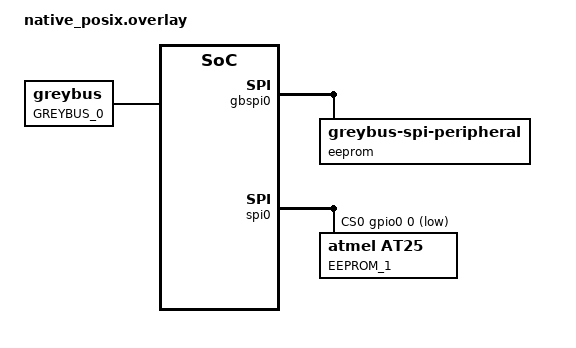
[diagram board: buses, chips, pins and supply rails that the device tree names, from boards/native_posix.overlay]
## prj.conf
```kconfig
CONFIG_ZTEST=y

#CONFIG_REQUIRES_FULL_LIBC=y
#CONFIG_NEWLIB_LIBC=y
CONFIG_GPIO=y
#CONFIG_I2C=y
CONFIG_SPI=y
CONFIG_GREYBUS=y
#CONFIG_GB_LOG_LEVEL=4
#CONFIG_GREYBUS_AUDIO=y
#CONFIG_GREYBUS_CAMERA=y
CONFIG_GREYBUS_CONTROL=y
#CONFIG_GREYBUS_GPIO=y
#CONFIG_GREYBUS_DEBUG=y
#CONFIG_GREYBUS_HID=y
#CONFIG_GREYBUS_I2C=y
#CONFIG_GREYBUS_LIGHTS=y
#CONFIG_GREYBUS_LOOPBACK=y
#CONFIG_GREYBUS_POWER_SUPPLY=y
#CONFIG_GREYBUS_PWM=y
#CONFIG_GREYBUS_SDIO=y
CONFIG_GREYBUS_SPI=y
#CONFIG_GREYBUS_UART=y
#CONFIG_GREYBUS_USB=y
#CONFIG_GREYBUS_VIBRATOR=y
CONFIG_CONSOLE_SUBSYS=y
#CONFIG_CONSOLE_GETCHAR=y
CONFIG_NO_OPTIMIZATIONS=y
CONFIG_MINIMAL_LIBC_MALLOC_ARENA_SIZE=16384
#CONFIG_MINIMAL_LIBC_MALLOC_ARENA_SIZE=32768
# Generic networking options
CONFIG_NETWORKING=y
CONFIG_NET_UDP=y
CONFIG_NET_TCP=y
CONFIG_NET_IPV6=y
CONFIG_NET_IPV4=y
CONFIG_NET_SOCKETS=y
CONFIG_NET_SOCKETS_POSIX_NAMES=y
CONFIG_POSIX_MAX_FDS=32

# Kernel options
CONFIG_MAIN_STACK_SIZE=1024
#CONFIG_ENTROPY_GENERATOR=y
CONFIG_TEST_RANDOM_GENERATOR=y
CONFIG_INIT_STACKS=y

# Logging
CONFIG_NET_LOG=y
CONFIG_LOG=y
CONFIG_NET_STATISTICS=y
CONFIG_PRINTK=y

# Network buffers
CONFIG_NET_PKT_RX_COUNT=4
CONFIG_NET_PKT_TX_COUNT=4
CONFIG_NET_BUF_RX_COUNT=16
CONFIG_NET_BUF_TX_COUNT=16
CONFIG_NET_CONTEXT_NET_PKT_POOL=y

# IP address options
CONFIG_NET_IF_UNICAST_IPV6_ADDR_COUNT=3
CONFIG_NET_IF_MCAST_IPV6_ADDR_COUNT=4
CONFIG_NET_MAX_CONTEXTS=10

# Network shell
CONFIG_NET_SHELL=y
CONFIG_SHELL=y

# Network application options and configuration
CONFIG_NET_CONFIG_SETTINGS=y
CONFIG_NET_CONFIG_MY_IPV6_ADDR="2001:db8::1"
CONFIG_NET_CONFIG_PEER_IPV6_ADDR="2001:db8::2"
CONFIG_NET_CONFIG_MY_IPV4_ADDR="192.0.2.1"
CONFIG_NET_CONFIG_PEER_IPV4_ADDR="192.0.2.2"

# How many client can connect to echo-server simultaneously
#CONFIG_NET_SAMPLE_NUM_HANDLERS=1

# Temporary until automatic thread stack allocation is available
CONFIG_PTHREAD_DYNAMIC_STACK=y
CONFIG_PTHREAD_DYNAMIC_STACK_RESERVED_COUNT=8
```

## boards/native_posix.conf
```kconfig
CONFIG_SPI_SIM=y
CONFIG_SPI_0=y
CONFIG_GPIO_SIM=y
```

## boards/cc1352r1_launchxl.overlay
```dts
/*
 * Copyright (c) 2020 Friedt Professional Engineering Services, Inc
 *
 * SPDX-License-Identifier: BSD-3-Clause
 */
 #include <dt-bindings/greybus/greybus.h>

/ {
	resources {
		compatible = "test,greybus-i2c";
		test-i2c = <&i2c0>; 
	};

	greybus0: greybus0 {
		compatible = "zephyr,greybus";
		label = "GREYBUS_0";
		greybus;
	};
};

&i2c0 {
	status = "okay";
};

&greybus0 {
	label = "GREYBUS_0";
	status = "okay";
	/* defaults in effect, so this isn't necessary */
	version-major = <GREYBUS_VERSION_MAJOR>;
	version-minor = <GREYBUS_VERSION_MINOR>;

	gbstring0: gbstring0 {
		label = "GBSTRING_0";
		status = "okay";
		compatible = "zephyr,greybus-string";
		id = <0>;
		greybus-string = "Zephyr Project RTOS";
	};

	gbstring1: gbstring1 {
		label = "GBSTRING_0";
		status = "okay";
		compatible = "zephyr,greybus-string";
		id = <1>;
		greybus-string = "Greybus Service Sample Application";
	};

	gbinterface0 {
		label = "GBINTERFACE_0";
		status = "okay";
		compatible = "zephyr,greybus-interface";
		vendor-string-id = <&gbstring0>;
		product-string-id = <&gbstring1>;
		greybus-interface;
	};

	gbbundle0 {
		label = "GBBUNDLE_0";
		status = "okay";
		compatible = "zephyr,greybus-bundle";
		greybus-bundle;
		/* Control Bundle 0
		 * Note: control bundle 0 and control cport 0 are optional
		 * Since instance numbers automatically begin at 0, the id
		 * is a mandatory field for bundles and cports.
		 */
		id = <CONTROL_BUNDLE_ID>;
		bundle-class = <BUNDLE_CLASS_CONTROL>;

		gbcontrol0 {
			label = "GBCONTROL_0";
			status = "okay";
			compatible = "zephyr,greybus-control";
			greybus-controller;
			/* Control CPort 0
			 * Note: control bundle 0 and control cport 0 are optional
			 * Since instance numbers automatically begin at 0, the id
			 * is a mandatory field for bundles and cports.
			 */
			id = <CONTROL_CPORT_ID>;
			cport-protocol = <CPORT_PROTOCOL_CONTROL>; 
		};
	};
	
	gbbundle1 {
		label = "GBBUNDLE_1";
		status = "okay";
		compatible = "zephyr,greybus-bundle";
		greybus-bundle;
		id = <1>;
		bundle-class = <BUNDLE_CLASS_BRIDGED_PHY>;		
				
		gbi2c0 {
			label = "GBI2C_0";
			status = "okay";
			compatible = "zephyr,greybus-i2c-controller";
			greybus-i2c-controller = <&i2c0>;
			id = <1>;
			cport-protocol = <CPORT_PROTOCOL_I2C>;
		};
	};
};
```

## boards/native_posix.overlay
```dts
/*
 * Copyright (c) 2020 Friedt Professional Engineering Services, Inc
 *
 * SPDX-License-Identifier: BSD-3-Clause
 */

#include <dt-bindings/greybus/greybus.h>
#include <dt-bindings/greybus/spi.h>

/ {
	resources {
		compatible = "test,greybus-i2c";
		test-i2c = <&i2c0>; 
	};

	greybus0: greybus0 {
		compatible = "zephyr,greybus";
		label = "GREYBUS_0";
		greybus;
	};
};

&gpio0 {
	status = "okay";
	ngpios = <2>;
};

&spi0 {
	status = "okay";

	cs-gpios = <&gpio0 0 GPIO_ACTIVE_LOW>;

	test_spi_at25: at25@0 {
                status = "okay";
        compatible = "atmel,at25";
        label = "EEPROM_1";
        reg = <0x0>;
        spi-max-frequency = <0>;
        size = <65536>;
        pagesize = <256>;
        address-width = <24>;
        timeout = <5>;
        /* wp-gpios = <&test_gpio 0 0>; */
        /* read-only; */
	};
};

&greybus0 {
	status = "okay";
	/* defaults in effect, so this isn't necessary */
	version-major = <GREYBUS_VERSION_MAJOR>;
	version-minor = <GREYBUS_VERSION_MINOR>;

	gbstring0: gbstring0 {
		status = "okay";
		compatible = "zephyr,greybus-string";
		id = <0>;
		greybus-string = "Zephyr Project RTOS";
	};

	gbstring1: gbstring1 {
		status = "okay";
		compatible = "zephyr,greybus-string";
		id = <1>;
		greybus-string = "Greybus Service Sample Application";
	};

	gbinterface0 {
		status = "okay";
		compatible = "zephyr,greybus-interface";
		vendor-string-id = <&gbstring0>;
		product-string-id = <&gbstring1>;
		greybus-interface;
	};

	gbbundle0 {
		status = "okay";
		compatible = "zephyr,greybus-bundle";
		greybus-bundle;
		/* Control Bundle 0
		 * Note: control bundle 0 and control cport 0 are optional
		 * Since instance numbers automatically begin at 0, the id
		 * is a mandatory field for bundles and cports.
		 */
		id = <CONTROL_BUNDLE_ID>;
		bundle-class = <BUNDLE_CLASS_CONTROL>;

		gbcontrol0 {
			status = "okay";
			compatible = "zephyr,greybus-control";
			greybus-controller;
			/* Control CPort 0
			 * Note: control bundle 0 and control cport 0 are optional
			 * Since instance numbers automatically begin at 0, the id
			 * is a mandatory field for bundles and cports.
			 */
			id = <CONTROL_CPORT_ID>;
			cport-protocol = <CPORT_PROTOCOL_CONTROL>; 
		};
	};
	
	gbbundle1 {
		status = "okay";
		compatible = "zephyr,greybus-bundle";
		greybus-bundle;
		id = <1>;
		bundle-class = <BUNDLE_CLASS_BRIDGED_PHY>;		
				
		gbspi0 {
			status = "okay";
			compatible = "zephyr,greybus-spi-controller";
			greybus-spi-controller = <&spi0>;
			id = <1>;
			cport-protocol = <CPORT_PROTOCOL_SPI>;

			/*
			 * Entries for struct gb_spi_master_config_response
			 */
			bpw-mask = <0xff>;
			min-speed-hz = <100000>;
			max-speed-hz = <400000>;			
			/* FIXME: there must be a better way to do this */
			#define _mode (GB_SPI_MODE_CPHA|GB_SPI_MODE_3WIRE|GB_SPI_MODE_READY)
			mode = <_mode>;
			flags = <GB_SPI_FLAG_HALF_DUPLEX>;

			eeprom {
				status = "okay";
				compatible = "zephyr,greybus-spi-peripheral";
				/* cs is used as an array index for compile-time definition [cs] = {...}, */				
				cs = <0>;
				
				/*
				 * Entries for struct gb_spi_device_config_response
				 */
				mode = <GB_SPI_MODE_CPHA>;
				bpw = <24>;
				max-speed-hz = <400000>;
				device-type = <GB_SPI_SPI_MODALIAS>;
				device-name = "spi:at25";
				
				/*
				 * TODO: nest the equivalent of a struct spi_cs_control
				 * here with a phandle to e.g. gpio0.
				 * Needs some machinery in subsys/greybus/platform/spi.c
				 * and (probably also) subsys/greybus/spi.c 
				 */
			};
		};
	};
};
```

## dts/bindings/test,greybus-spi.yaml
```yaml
#
# Copyright (c) 2020 Friedt Professional Engineering Services, Inc
#
# SPDX-License-Identifier: BSD-3-Clause
#

description: |
    This binding provides resources required to build and run the
    spi-related tests under tests/subsys/greybus test in Zephyr.

compatible: "test,greybus-spi"

properties:
    test-spi:
        type: phandle
        required: true
        description: |
          Identity of an SPI device that will be used with Greybus.
```

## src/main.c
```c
/*
 * Copyright (c) 2020 Friedt Professional Engineering Services, Inc
 *
 * SPDX-License-Identifier: BSD-3-Clause
 */

#include <ztest.h>

extern void test_greybus_spi_protocol_version(void);
extern void test_greybus_spi_cport_shutdown(void);
extern void test_greybus_spi_master_config(void);
extern void test_greybus_spi_device_config(void);
extern void test_greybus_spi_transfer(void);

static void board_setup(void)
{
	if (IS_ENABLED(CONFIG_SPI_SIM)) {
		extern void spi_sim_setup(void);
		spi_sim_setup();
	}
	if (IS_ENABLED(CONFIG_GPIO_SIM)) {
		extern void gpio_sim_setup(void);
		gpio_sim_setup();
	}
}

extern void test_greybus_setup(void);
extern void test_greybus_teardown(void);

void test_main(void) {

	board_setup();
	test_greybus_setup();
    ztest_test_suite(greybus_spi,
        ztest_unit_test(test_greybus_spi_protocol_version),
        ztest_unit_test(test_greybus_spi_cport_shutdown),
        ztest_unit_test(test_greybus_spi_master_config),
        ztest_unit_test(test_greybus_spi_device_config),
        ztest_unit_test(test_greybus_spi_transfer)
        );
    ztest_run_test_suite(greybus_spi);
    test_greybus_teardown();
}
```

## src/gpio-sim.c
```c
/*
 * Copyright (c) 2020 Friedt Professional Engineering Services, Inc
 *
 * SPDX-License-Identifier: BSD-3-Clause
 */

#ifdef CONFIG_GPIO_SIM

#include <drivers/gpio.h>
#include <drivers/gpio/gpio_sim.h>
#include <stdio.h>
#include <sys/util.h>
#include <zephyr.h>

#include "test-greybus-spi.h"

#ifndef GPIO_DEV_NAME
#define GPIO_DEV_NAME "GPIO_0"
#endif

static void gpio_sim_callback_handler(struct device *port,
				      struct gpio_callback *cb,
				      gpio_port_pins_t pins)
{
	printf("%s(): GPIO changed\n", __func__);
}

static struct gpio_callback gpio_sim_callback = {
	.handler = gpio_sim_callback_handler,
	.pin_mask = BIT(0),
};

void gpio_sim_setup(void)
{
	struct device *dev = device_get_binding(GPIO_DEV_NAME);
	__ASSERT(dev != NULL, "Device not found");
	int rc = gpio_add_callback(dev, &gpio_sim_callback);
	__ASSERT(rc == 0, "gpio_add_callback() failed: %d", rc);
	/* in the simulated case, we're using active-high logic */
	rc = gpio_pin_configure(dev, 0, GPIO_OUTPUT_LOW);
	__ASSERT(rc == 0, "gpio_pin_configure() failed: %d", rc);
}

#endif /* CONFIG_GPIO_SIM */
```

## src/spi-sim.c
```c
/*
 * Copyright (c) 2020 Friedt Professional Engineering Services, Inc
 *
 * SPDX-License-Identifier: BSD-3-Clause
 */

#ifdef CONFIG_SPI_SIM

#include <drivers/spi.h>
#include <drivers/gpio.h>
#include <drivers/spi/spi_sim.h>
#include <drivers/eeprom.h>
#include <stdio.h>
#include <sys/util.h>
#include <zephyr.h>

#include <logging/log.h>
LOG_MODULE_REGISTER(test_spi_sim, CONFIG_SPI_LOG_LEVEL);

#ifndef SPI_DEV_NAME
#define SPI_DEV_NAME "SPI_0"
#endif

/* AT25 instruction set */
typedef enum {
	AT25_WRSR = 1, /* Write STATUS register        */
	AT25_WRITE = 2, /* Write data to memory array   */
	AT25_READ = 3, /* Read data from memory array  */
	AT25_WRDI = 4, /* Reset the write enable latch */
	AT25_RDSR = 5, /* Read STATUS register         */
	AT25_WREN = 6, /* Set the write enable latch   */
	AT25_EONE = 0x52, /* Erase One Sector in Memory Array */
	AT25_EALL = 0x62, /* Erase All Sectors in Memory Array */
	AT25_RDR = 0x15, /* Read Manufacturer and Product ID */
} at25_op_t;

/* AT25 status register bits */
typedef enum {
	AT25_STATUS_WIP = BIT(0), /* Write-In-Process   (RO) */
	AT25_STATUS_WEL = BIT(1), /* Write Enable Latch (RO) */
	AT25_STATUS_BP0 = BIT(2), /* Block Protection 0 (RW) */
	AT25_STATUS_BP1 = BIT(3), /* Block Protection 1 (RW) */
} at25_status_t;

static int spi_sim_callback(struct device *dev, const struct spi_config *config,
			    const struct spi_buf_set *tx_bufs,
			    const struct spi_buf_set *rx_bufs)
{
	static uint8_t status;
	static uint8_t data[256];
	static bool write;
	static uint32_t addr;
	const struct spi_buf *tx = &tx_bufs->buffers[0];
	const struct spi_buf *rx;
	uint8_t *x;
	size_t len;

	/* if there is a chip-select, then use it! */
	if (config->cs != NULL) {
		k_usleep(config->cs->delay);
		if ((config->operation & SPI_CS_ACTIVE_HIGH) != 0) {
			gpio_pin_set(config->cs->gpio_dev, config->cs->gpio_pin, 1);
		} else {
			gpio_pin_set(config->cs->gpio_dev, config->cs->gpio_pin, 0);
		}
	}

	at25_op_t op = ((uint8_t *)tx->buf)[0] & (~0x08);

	switch(op) {
	case AT25_WRSR:
		break;
	case AT25_WRITE:

		write = true;

		__ASSERT_NO_MSG(tx->len >= 4);

		addr = 0;
		/* A[23..17] are don't care bits for the 512k version */
		/* addr |= (uint32_t)(((uint8_t *)tx->buf)[0]) << 16; */
		/* A[16] should be a zero bit for the 512k version */
		addr |= ((uint32_t)(((uint8_t *)tx->buf)[1]) << 8) & 7;
		addr |= (uint32_t)(((uint8_t *)tx->buf)[2]) << 0;

		if (tx->len == 4) {
			__ASSERT_NO_MSG(tx_bufs->count > 1);
			tx = &tx_bufs->buffers[1];
			x = tx->buf;
			len = tx->len;
		} else {
			x = (uint8_t *)tx->buf + 4;
			len = tx->len - 4;
		}

		memcpy(&data[addr], x, len);

		write = false;

		break;

	case AT25_READ:

		write = false;

		addr = 0;
		/* A[23..17] are don't care bits for the 512k version */
		/* addr |= (uint32_t)(((uint8_t *)tx->buf)[0]) << 16; */
		/* A[16] should be a zero bit for the 512k version */
		addr |= ((uint32_t)(((uint8_t *)tx->buf)[1]) << 8) & 7;
		addr |= (uint32_t)(((uint8_t *)tx->buf)[2]) << 0;

		if (tx->len == 4) {
			__ASSERT_NO_MSG(rx_bufs->count > 1);
			rx = &rx_bufs->buffers[1];
			x = rx->buf;
			len = rx->len;
		} else {
			rx = &rx_bufs->buffers[0];
			x = (uint8_t *)rx->buf + 4;
			len = rx->len - 4;
		}

		memcpy(x, &data[addr], len);

		break;

	case AT25_WRDI:
		break;

	case AT25_RDSR:

		rx = &rx_bufs->buffers[0];
		memcpy(rx->buf, tx->buf, sizeof(rx->len));
		((uint8_t *)rx->buf)[1] = status;

		break;

	case AT25_WREN:
		status |= AT25_STATUS_WEL;
		break;
	case AT25_EONE:
		break;
	case AT25_EALL:
		break;
	case AT25_RDR:
		break;
	default:

		__ASSERT(1 == 0, "invalid opcode %u", op);

		break;
	}

	/* if there is a chip-select, then use it! */
	if (config->cs != NULL) {
		if ((config->operation & SPI_CS_ACTIVE_HIGH) != 0) {
			gpio_pin_set(config->cs->gpio_dev, config->cs->gpio_pin, 0);
		} else {
			gpio_pin_set(config->cs->gpio_dev, config->cs->gpio_pin, 1);
		}
		k_usleep(config->cs->delay);
	}

	return 0;
}

void spi_sim_setup(void)
{
	int r;
	struct device *dev;

	dev = device_get_binding(SPI_DEV_NAME);
	__ASSERT(dev != NULL, "failed to get binding for " SPI_DEV_NAME);

	r = spi_sim_callback_register(dev, 0, spi_sim_callback);
	__ASSERT(r == 0, "failed to register spi_sim callback: %d", r);
}

#endif /* CONFIG_SPI_SIM */
```

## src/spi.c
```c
/*
 * Copyright (c) 2020 Friedt Professional Engineering Services, Inc
 *
 * SPDX-License-Identifier: BSD-3-Clause
 */

#include <device.h>
#include <errno.h>
#include <greybus/greybus.h>
#include <string.h>
#include <sys/util.h>
#include <ztest.h>
#include <zephyr.h>

#if defined(CONFIG_BOARD_NATIVE_POSIX_64BIT) ||                                \
	defined(CONFIG_BOARD_NATIVE_POSIX_32BIT) ||                            \
	defined(CONFIG_BOARD_NRF52_BSIM)

#include <arpa/inet.h>
#include <netinet/in.h>
#include <poll.h>
#include <sys/byteorder.h>
#include <sys/types.h>
#include <sys/socket.h>
#include <unistd.h>

#else

#include <net/socket.h>
#include <posix/unistd.h>

#endif

#include "../../../../subsys/greybus/spi-gb.h"

#include "test-greybus-spi.h"

#define TIMEOUT_MS (-1)
#define PORT 4243

static struct device *spi_dev;

static int fd = -1;

static char *to_string(uint8_t *data, size_t len)
{
    static char buf[256];
    char *p = buf;

    memset(buf, '\0', sizeof(buf));
    for(size_t i = 0; i < len && p < buf + sizeof(buf) - 4; ++i) {
        sprintf(p, "%02x", data[i]);
        p += 2;
        if (i < len - 1) {
            *p++ = ',';
            *p++ = ' ';
        }
    }

    return buf;
}

void test_greybus_setup(void)
{
	struct sockaddr_in6 addr = {
		.sin6_family = AF_INET6,
		.sin6_addr = in6addr_loopback,
		.sin6_port = htons(PORT),
	};
	socklen_t addrlen = sizeof(addr);
	int r;

	spi_dev = device_get_binding(SPI_DEV_NAME);
	zassert_not_equal(spi_dev, NULL,
			  "failed to get device binding for " SPI_DEV_NAME);

	r = socket(AF_INET6, SOCK_STREAM, 0);
	__ASSERT(r >= 0, "connect: %d", errno);
	fd = r;

	r = connect(fd, (const struct sockaddr *)&addr, addrlen);
	__ASSERT(r == 0, "connect: %d", errno);
}

void test_greybus_teardown(void)
{
	if (fd != -1) {
		close(fd);
		fd = -1;
	}
}

static void tx_rx(const struct gb_operation_hdr *req,
		  struct gb_operation_hdr *rsp, size_t rsp_size)
{
	int r;
	int size;
	struct pollfd pollfd;

	size = sys_le16_to_cpu(req->size);
	r = send(fd, req, size, 0);
	zassert_not_equal(r, -1, "send: %s", errno);
	zassert_equal(r, size, "send: expected: %d actual: %d", size, r);

	pollfd.fd = fd;
	pollfd.events = POLLIN;

	r = poll(&pollfd, 1, TIMEOUT_MS);
	zassert_not_equal(r, -1, "poll: %s", errno);
	zassert_not_equal(r, 0, "timeout waiting for response");
	zassert_equal(r, 1, "invalid number of pollfds with data: %d", r);

	r = recv(fd, rsp, rsp_size, 0);
	zassert_not_equal(r, -1, "recv: %s", errno);
	if (r != rsp_size) {
		printk("rsp: [%s]", to_string((uint8_t *)rsp, r));
	}
	zassert_equal(rsp_size, r, "recv: expected: %u actual: %u",
		      (unsigned)rsp_size, r);

	zassert_equal(rsp->id, req->id,
			  "expected: 0x%04x actual: 0x%04x",
			  sys_le16_to_cpu(req->id),
			  sys_le16_to_cpu(rsp->id));
	zassert_equal(rsp->type, GB_TYPE_RESPONSE_FLAG | req->type,
			  "expected: %u actual: %u",
			  GB_TYPE_RESPONSE_FLAG | req->type, rsp->type);
}

void test_greybus_spi_protocol_version(void)
{
	const struct gb_operation_hdr req = {
		.size = sys_cpu_to_le16(sizeof(struct gb_operation_hdr)),
		.id = sys_cpu_to_le16(0xabcd),
		.type = GB_SPI_PROTOCOL_VERSION,
	};
	uint8_t rsp_[0 + sizeof(struct gb_operation_hdr) +
		     sizeof(struct gb_spi_proto_version_response)];
	const size_t rsp_size = sizeof(rsp_);
	struct gb_operation_hdr *const rsp =
		(struct gb_operation_hdr *)rsp_;
	struct gb_spi_proto_version_response *const pv_rsp =
		(struct gb_spi_proto_version_response
			 *)(rsp_ + sizeof(struct gb_operation_hdr));

	/* add some "noise" values that should be overwritten */
	pv_rsp->major = 0xf0;
	pv_rsp->minor = 0x0d;

	tx_rx(&req, rsp, rsp_size);

	zassert_equal(rsp->result, GB_OP_SUCCESS,
		      "expected: GB_OP_SUCCESS actual: %u",
		      rsp->result);

	/* GB_SPI_VERSION_MAJOR (0) is buried in subsys/greybus/spi.c */
	zassert_equal(pv_rsp->major, 0, "expected: %u actual: %u", 0, pv_rsp->major);

	/* GB_SPI_VERSION_MINOR (1) is buried in subsys/greybus/spi.c */
	zassert_equal(pv_rsp->minor, 1, "expected: %u actual: %u", 1, pv_rsp->minor);
}

void test_greybus_spi_cport_shutdown(void)
{
	/*
	 * looks like the original NuttX implementation was missing any kind
	 * of cport shutdown request
	 */
}

void test_greybus_spi_master_config(void)
{
	const struct gb_operation_hdr req = {
		.size = sys_cpu_to_le16(sizeof(struct gb_operation_hdr)),
		.id = sys_cpu_to_le16(0xabcd),
		.type = GB_SPI_TYPE_MASTER_CONFIG,
	};
	uint8_t rsp_[0 + sizeof(struct gb_operation_hdr) +
		     sizeof(struct gb_spi_master_config_response)];

	struct gb_operation_hdr *const rsp =
		(struct gb_operation_hdr *)rsp_;

	const size_t rsp_size = sizeof(rsp_);
	struct gb_spi_master_config_response *const master_rsp =
		(struct gb_spi_master_config_response
			 *)(rsp_ + sizeof(struct gb_operation_hdr));

	tx_rx(&req, rsp, rsp_size);

	zassert_equal(rsp->result, GB_OP_SUCCESS,
		      "expected: GB_OP_SUCCESS actual: %u",
		      rsp->result);

	/*
	 * Zephyr currently has no way to query these settings from the hardware
	 * but at least they are compile-time constant and can be extracted out
	 * of devicetree
	 */
	zassert_equal(
		DT_PROP(DT_N_S_greybus0_S_gbbundle1_S_gbspi0, bpw_mask),
		sys_le32_to_cpu(master_rsp->bpw_mask),
		"bpw_mask: expected: %x actual: %x",
		DT_PROP(DT_N_S_greybus0_S_gbbundle1_S_gbspi0, bpw_mask),
		sys_le32_to_cpu(master_rsp->bpw_mask)
	);

	zassert_equal(
		DT_PROP(DT_N_S_greybus0_S_gbbundle1_S_gbspi0, min_speed_hz),
		sys_le32_to_cpu(master_rsp->min_speed_hz),
		"min_speed_hz: expected: %u actual: %u",
		DT_PROP(DT_N_S_greybus0_S_gbbundle1_S_gbspi0, min_speed_hz),
		sys_le32_to_cpu(master_rsp->min_speed_hz)
	);

	zassert_equal(
		DT_PROP(DT_N_S_greybus0_S_gbbundle1_S_gbspi0, max_speed_hz),
		sys_le32_to_cpu(master_rsp->max_speed_hz),
		"max_speed_hz: expected: %u actual: %u",
		DT_PROP(DT_N_S_greybus0_S_gbbundle1_S_gbspi0, max_speed_hz),
		sys_le32_to_cpu(master_rsp->max_speed_hz)
	);

	zassert_equal(
		DT_PROP(DT_N_S_greybus0_S_gbbundle1_S_gbspi0, mode),
		sys_le32_to_cpu(master_rsp->mode),
		"mode: expected: %x actual: %x",
		DT_PROP(DT_N_S_greybus0_S_gbbundle1_S_gbspi0, mode),
		sys_le32_to_cpu(master_rsp->mode)
	);

	zassert_equal(
		DT_PROP(DT_N_S_greybus0_S_gbbundle1_S_gbspi0, flags),
		sys_le32_to_cpu(master_rsp->flags),
		"flags: expected: %x actual: %x",
		DT_PROP(DT_N_S_greybus0_S_gbbundle1_S_gbspi0, flags),
		sys_le32_to_cpu(master_rsp->flags)
	);
}

void test_greybus_spi_device_config(void)
{
	uint8_t req_[
		0
		+ sizeof(struct gb_operation_hdr)
		+ sizeof(struct gb_spi_device_config_request)
	] = {};
	struct gb_operation_hdr *const req =
		(struct gb_operation_hdr *)req_;

	req->size = sys_cpu_to_le16(sizeof(req_));
	req->id = sys_cpu_to_le16(0xabcd);
	req->type = GB_SPI_TYPE_DEVICE_CONFIG;

	uint8_t rsp_[0 + sizeof(struct gb_operation_hdr) +
		     sizeof(struct gb_spi_device_config_response)] = {};

	struct gb_operation_hdr *const rsp =
		(struct gb_operation_hdr *)rsp_;

	const size_t rsp_size = sizeof(rsp_);
	struct gb_spi_device_config_response *const device_rsp =
		(struct gb_spi_device_config_response
			 *)(rsp_ + sizeof(struct gb_operation_hdr));

	tx_rx(req, rsp, rsp_size);

	zassert_equal(rsp->result, GB_OP_SUCCESS,
		      "expected: GB_OP_SUCCESS actual: %u",
		      rsp->result);

	/*
	 * Zephyr currently has no way to query these settings from the hardware
	 * but at least they are compile-time constant and can be extracted out
	 * of devicetree
	 */
	zassert_equal(
		DT_PROP(DT_N_S_greybus0_S_gbbundle1_S_gbspi0_S_eeprom, mode),
		sys_le32_to_cpu(device_rsp->mode),
		"mode: expected: %x actual: %x",
		DT_PROP(DT_N_S_greybus0_S_gbbundle1_S_gbspi0_S_eeprom, mode),
		sys_le32_to_cpu(device_rsp->mode)
	);

	zassert_equal(
		DT_PROP(DT_N_S_greybus0_S_gbbundle1_S_gbspi0_S_eeprom, bpw),
		sys_le32_to_cpu(device_rsp->bpw),
		"bpw: expected: %u actual: %u",
		DT_PROP(DT_N_S_greybus0_S_gbbundle1_S_gbspi0_S_eeprom, bpw),
		sys_le32_to_cpu(device_rsp->bpw)
	);

	zassert_equal(
		DT_PROP(DT_N_S_greybus0_S_gbbundle1_S_gbspi0_S_eeprom, max_speed_hz),
		sys_le32_to_cpu(device_rsp->max_speed_hz),
		"max_speed_hz: expected: %u actual: %u",
		DT_PROP(DT_N_S_greybus0_S_gbbundle1_S_gbspi0_S_eeprom, max_speed_hz),
		sys_le32_to_cpu(device_rsp->max_speed_hz)
	);

	zassert_equal(
		DT_PROP(DT_N_S_greybus0_S_gbbundle1_S_gbspi0_S_eeprom, device_type),
		sys_le32_to_cpu(device_rsp->device_type),
		"device_type: expected: %u actual: %u",
		DT_PROP(DT_N_S_greybus0_S_gbbundle1_S_gbspi0_S_eeprom, device_type),
		sys_le32_to_cpu(device_rsp->device_type)
	);

	zassert_equal(
		0, strcmp(
		DT_PROP(DT_N_S_greybus0_S_gbbundle1_S_gbspi0_S_eeprom, device_name),
		sys_le32_to_cpu(device_rsp->name)),
		"device_type: expected: %u actual: %u",
		DT_PROP(DT_N_S_greybus0_S_gbbundle1_S_gbspi0_S_eeprom, device_name),
		sys_le32_to_cpu(device_rsp->name)
	);
}

void test_greybus_spi_transfer(void)
{
	/*
	 * This is from test_zero_length_write() in tests/drivers/spi/spi_eeprom
	 * adapted from tests/drivers/eeprom.
	 *
	 * D: spi_sim_callback(): RDSR  len: 2 data: [05, 00]
	 * D: spi_sim_callback(): WREN  len: 1 data: [06]
	 * D: spi_sim_callback(): WRITE len: 4 data: [10, 20, 30, 40] addr: 000000
	 * D: spi_sim_callback(): RDSR  len: 2 data: [05, 00]
	 * D: spi_sim_callback(): READ  len: 4 data: [10, 20, 30, 40] addr: 000000
	 */

#define DESC(_speed, _len, _delay, _cs_change, _bpw, _rdwr) \
	{ \
		.speed_hz = sys_cpu_to_le32(_speed), \
		.len = sys_cpu_to_le32(_len), \
		.delay_usecs = sys_cpu_to_le16(_delay), \
		.cs_change = _cs_change, \
		.bits_per_word = _bpw, \
		.rdwr = _rdwr, \
	}

	static const struct gb_spi_transfer_desc descs[] = {
		/* RDSR  */ DESC(100000, 2, 0, 0, 8, GB_SPI_XFER_WRITE | GB_SPI_XFER_READ),
		/* WREN  */ DESC(100000, 1, 0, 0, 8, GB_SPI_XFER_WRITE),
		/* WRITE */ DESC(100000, 8, 0, 0, 8, GB_SPI_XFER_WRITE),
		/* RDSR  */ DESC(100000, 2, 0, 0, 8, GB_SPI_XFER_WRITE | GB_SPI_XFER_READ),
		/* READ  */ DESC(100000, 8, 0, 0, 8, GB_SPI_XFER_WRITE | GB_SPI_XFER_READ),
	};

	uint8_t req_[
		0
		+ sizeof(struct gb_operation_hdr)
		+ sizeof(struct gb_spi_transfer_request)
		+ ARRAY_SIZE(descs) * sizeof(struct gb_spi_transfer_desc)
		/*
		 * SPI writes also include 0s for clocking-out reads. So
		 * the Greybus SPI request is slightly different than the
		 * I2C request.
		 */
		+ (2 + 1 + (4 + 4) + 2 + (4 + 4))
		] = {};
	const size_t req_size = sizeof(req_);

	/* AT25 instruction set */
	enum {
		AT25_WRSR = 1, /* Write STATUS register        */
		AT25_WRITE = 2, /* Write data to memory array   */
		AT25_READ = 3, /* Read data from memory array  */
		AT25_WRDI = 4, /* Reset the write enable latch */
		AT25_RDSR = 5, /* Read STATUS register         */
		AT25_WREN = 6, /* Set the write enable latch   */
		AT25_EONE = 0x52, /* Erase One Sector in Memory Array */
		AT25_EALL = 0x62, /* Erase All Sectors in Memory Array */
		AT25_RDR = 0x15, /* Read Manufacturer and Product ID */
	};

	static const uint8_t write_data[] = {
		AT25_RDSR,
			/* 1 byte of clocked-out for read */
			0x00,
		AT25_WREN,
		AT25_WRITE,
			/* 3-byte address */
			0x00, 0x00, 0x00,
			/* 4 bytes of write data */
			0x10, 0x20, 0x30, 0x40,
		AT25_RDSR,
			/* 1 byte of clocked-out for read */
			0x00,
		AT25_READ,
			/* 3-byte address */
			0x00, 0x00, 0x00,
			0x00, 0x00, 0x00, 0x00, /* 4 bytes of clocked-out for read */
	};

	struct gb_operation_hdr *const req =
		(struct gb_operation_hdr *)req_;
	
	req->size = sys_cpu_to_le16(req_size);
	req->id = sys_cpu_to_le16(0xabcd);
	req->type = GB_SPI_PROTOCOL_TRANSFER;

	struct gb_spi_transfer_request *const xfer_req =
		(struct gb_spi_transfer_request *)
		(req_ + sizeof(*req));
	xfer_req->count = sys_cpu_to_le16(ARRAY_SIZE(descs));

	uint8_t rsp_[
		0
		+ sizeof(struct gb_operation_hdr)
		+ (12 /* response size only counts read ops */)
		];
	const size_t rsp_size = sizeof(rsp_);
	struct gb_operation_hdr *const rsp =
		(struct gb_operation_hdr *)rsp_;

	struct gb_spi_transfer_response *const xfer_rsp =
		(struct gb_spi_transfer_response *)
		(rsp_ + sizeof(struct gb_operation_hdr));

	const uint8_t expected_data[] = {
		AT25_RDSR, 0x00,
		AT25_RDSR, 0x02,
		AT25_READ, 0x00, 0x00, 0x00, 0x10, 0x20, 0x30, 0x40,
	};
	uint8_t *const actual_data = xfer_rsp->data;
	memset(actual_data, 0xff, 12);

	uint8_t *payload = (uint8_t *)xfer_req->transfers;
	memcpy(payload, descs, sizeof(descs));
	payload += sizeof(descs);
	memcpy(payload, write_data, sizeof(write_data)); 

	tx_rx(req, rsp, rsp_size);

	zassert_equal(((struct gb_operation_hdr *)rsp_)->result, GB_OP_SUCCESS,
		      "expected: GB_OP_SUCCESS actual: %u",
		      ((struct gb_operation_hdr *)rsp_)->result);


	zassert_equal(
		0,
		memcmp(expected_data, actual_data, sizeof(expected_data)),
		"data: expected: [%s] actual: [%s]",
		to_string((uint8_t *)expected_data, sizeof(expected_data)),
		to_string(actual_data, sizeof(expected_data))
	);
}
```

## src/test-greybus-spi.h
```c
/*
 * Copyright (c) 2016 Intel Corporation
 *
 * SPDX-License-Identifier: BSD-3-Clause
 */

#ifndef __TEST_SPI_H__
#define __TEST_SPI_H__

#include <devicetree.h>

#if DT_NODE_HAS_STATUS(DT_ALIAS(spi_0), okay)
#define SPI_DEV_NAME	DT_LABEL(DT_ALIAS(spi_0))
#elif DT_NODE_HAS_STATUS(DT_ALIAS(spi_1), okay)
#define SPI_DEV_NAME	DT_LABEL(DT_ALIAS(spi_1))
#elif DT_NODE_HAS_STATUS(DT_ALIAS(spi_2), okay)
#define SPI_DEV_NAME	DT_LABEL(DT_ALIAS(spi_2))
#else
#error "Please set the correct SPI device"
#endif

#endif /* __TEST_SPI_H__ */
```
